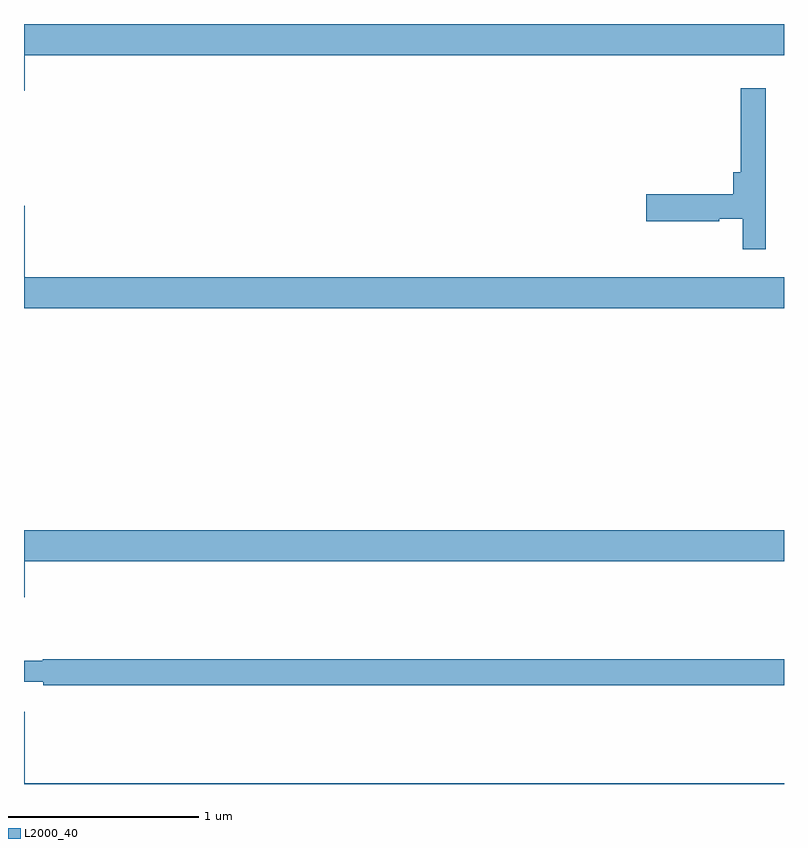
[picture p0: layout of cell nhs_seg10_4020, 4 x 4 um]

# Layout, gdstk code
import gdstk
lib = gdstk.Library(unit=1e-6, precision=1e-09)
def P(c, l, *ps):  # polygons
    for p in ps: c.add(gdstk.Polygon(p, *l))
L2000_40 = (2000, 40)

nhs_seg10_4020 = lib.new_cell('nhs_seg10_4020')
P(nhs_seg10_4020, L2000_40, [(333.004,1280.336),(337,1280.336),(337,1280.5),(333,1280.5),(333,1280.148),(333.004,1280.148)],
  [(336.904,1280.161),(336.773,1280.161),(336.773,1279.72),(336.734,1279.72),(336.734,1279.604),(336.276,1279.604),(336.276,1279.462),(336.66,1279.462),(336.66,1279.474),(336.782,1279.474),(336.782,1279.314),(336.904,1279.314)],
  [(337,1279.168),(333.004,1279.168),(333.004,1279.543),(333,1279.543),(333,1279.004),(337,1279.004)],
  [(333.004,1277.672),(337,1277.672),(337,1277.836),(333,1277.836),(333,1277.484),(333.004,1277.484)],
  [(337,1277.156),(333.098,1277.156),(333.098,1277.149),(333,1277.149),(333,1277.039),(333.1,1277.039),(333.1,1277.02),(337,1277.02)],
  [(337,1276.504),(333.004,1276.504),(333.004,1276.879),(333,1276.879),(333,1276.5),(337,1276.5)])

lib.write_gds('nhs_seg10_4020.gds')
